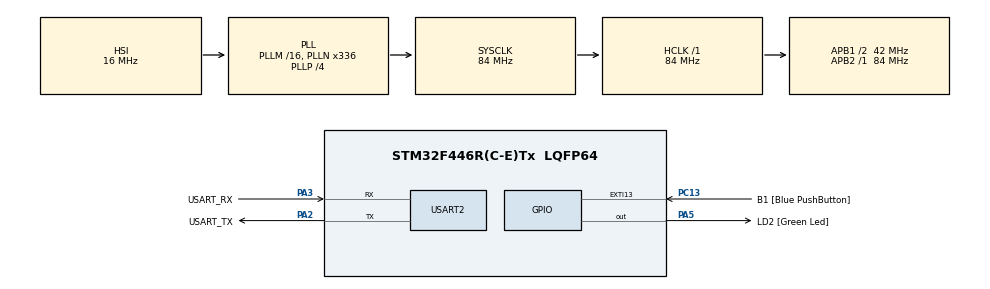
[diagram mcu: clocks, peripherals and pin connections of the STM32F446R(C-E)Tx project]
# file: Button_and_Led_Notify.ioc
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Mcu.Family=STM32F4
Mcu.Name=STM32F446R(C-E)Tx
Mcu.Package=LQFP64
NVIC.PriorityGroup=NVIC_PRIORITYGROUP_4
NVIC.TIM6_DAC_IRQn=true\:0\:0\:false\:false\:true\:false\:true
NVIC.TimeBase=TIM6_DAC_IRQn
NVIC.TimeBaseIP=TIM6
PA13.GPIO_Label=TMS
PA13.Mode=Serial_Wire
PA13.Signal=SYS_JTMS-SWDIO
PA14.GPIO_Label=TCK
PA14.Mode=Serial_Wire
PA14.Signal=SYS_JTCK-SWCLK
PA2.GPIO_Label=USART_TX
PA2.Mode=Asynchronous
PA2.Signal=USART2_TX
PA3.GPIO_Label=USART_RX
PA3.Mode=Asynchronous
PA3.Signal=USART2_RX
PA5.GPIO_Label=LD2 [Green Led]
PA5.Signal=GPIO_Output
PB3.GPIO_Label=SWO
PB3.Signal=SYS_JTDO-SWO
PC13.GPIO_Label=B1 [Blue PushButton]
PC13.GPIO_ModeDefaultEXTI=GPIO_MODE_IT_FALLING
PC13.Signal=GPXTI13
ProjectManager.HeapSize=0x200
ProjectManager.StackSize=0x400
ProjectManager.TargetToolchain=STM32CubeIDE
RCC.48MHZClocksFreq_Value=84000000
RCC.AHBFreq_Value=84000000
RCC.APB1CLKDivider=RCC_HCLK_DIV2
RCC.APB1Freq_Value=42000000
RCC.APB1TimFreq_Value=84000000
RCC.APB2Freq_Value=84000000
RCC.APB2TimFreq_Value=84000000
RCC.CortexFreq_Value=84000000
RCC.FLatency-AdvancedSettings=FLASH_LATENCY_2
RCC.HCLKFreq_Value=84000000
RCC.HSE_VALUE=8000000
RCC.HSI_VALUE=16000000
RCC.PLLN=336
RCC.PLLP=RCC_PLLP_DIV4
RCC.SYSCLKFreq_VALUE=84000000
RCC.SYSCLKSource=RCC_SYSCLKSOURCE_PLLCLK
RCC.USBFreq_Value=168000000
RCC.VCOOutputFreq_Value=336000000
USART2.VirtualMode=VM_ASYNC
VP_SYS_VS_tim6.Mode=TIM6
board=NUCLEO-F446RE

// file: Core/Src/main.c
/* Create two task and poll for button press in one task and toggle led in another task.
   But LED task should not run unneccessarily, it should only run when button is pressed.
   So, button task will keep on running max time.
   And also make one more task which will number of times button is pressed.
*/

/* USER CODE BEGIN Header */
/**
  ******************************************************************************
  * @file           : main.c
  * @brief          : Main program body
  ******************************************************************************
  * @attention
  *
  * <h2><center>&copy; Copyright (c) 2021 STMicroelectronics.
  * All rights reserved.</center></h2>
  *
  * This software component is licensed by ST under BSD 3-Clause license,
  * the "License"; You may not use this file except in compliance with the
  * License. You may obtain a copy of the License at:
  *                        opensource.org/licenses/BSD-3-Clause
  *
  ******************************************************************************
  */
/* USER CODE END Header */
#include "main.h"

/* USER CODE BEGIN Includes */

#include "stdint.h"

#include "FreeRTOS.h"
#include "task.h"

/* USER CODE END Includes */

UART_HandleTypeDef huart2;

/* USER CODE BEGIN PV */

//static uint8_t button_pressed;
TaskHandle_t task1_handler_address;
TaskHandle_t task2_handler_address;
TaskHandle_t task3_handler_address;

/* USER CODE END PV */

void SystemClock_Config(void);
static void MX_GPIO_Init(void);
static void MX_USART2_UART_Init(void);
/* USER CODE BEGIN PFP */
static void button_task_handler(void *);
static void led_task_handler(void *);
static void print_task_handler(void *);
static void rtos_delay(uint32_t ms_delay);
/* USER CODE END PFP */

int main(void)
{
  /* USER CODE BEGIN 1 */

  BaseType_t ret;

  /* USER CODE END 1 */

  /* MCU Configuration--------------------------------------------------------*/

  /* Reset of all peripherals, Initializes the Flash interface and the Systick. */
  HAL_Init();

  /* Configure the system clock */
  SystemClock_Config();

  /* Initialize all configured peripherals */
  MX_GPIO_Init();
  MX_USART2_UART_Init();

  /* USER CODE BEGIN 2 */

  ret = xTaskCreate(button_task_handler, "BUTTON TASK", 500, "BUTTON TASK running\n\n", 2, &task1_handler_address);
  configASSERT(ret == pdPASS);

  ret = xTaskCreate(led_task_handler, "LED TASK", 500, "LED TASK running\n\n", 2, &task2_handler_address);
  configASSERT(ret == pdPASS);

  ret = xTaskCreate(print_task_handler, "PRINT TASK", 500, "PRINT TASK running\n\n", 2, &task3_handler_address);
  configASSERT(ret == pdPASS);

  //Start the Schedular
  vTaskStartScheduler();

  //Note: Control never comes out of this function ie Schedular untill unless schedular launch is failed

  /* USER CODE END 2 */

  /* Infinite loop */
  while (1)
  {

  }
}

void SystemClock_Config(void)
{
  RCC_OscInitTypeDef RCC_OscInitStruct = {0};
  RCC_ClkInitTypeDef RCC_ClkInitStruct = {0};

  /** Configure the main internal regulator output voltage
  */
  __HAL_RCC_PWR_CLK_ENABLE();
  __HAL_PWR_VOLTAGESCALING_CONFIG(PWR_REGULATOR_VOLTAGE_SCALE3);
  /** Initializes the RCC Oscillators according to the specified parameters
  * in the RCC_OscInitTypeDef structure.
  */
  RCC_OscInitStruct.OscillatorType = RCC_OSCILLATORTYPE_HSI;
  RCC_OscInitStruct.HSIState = RCC_HSI_ON;
  RCC_OscInitStruct.HSICalibrationValue = RCC_HSICALIBRATION_DEFAULT;
  RCC_OscInitStruct.PLL.PLLState = RCC_PLL_ON;
  RCC_OscInitStruct.PLL.PLLSource = RCC_PLLSOURCE_HSI;
  RCC_OscInitStruct.PLL.PLLM = 16;
  RCC_OscInitStruct.PLL.PLLN = 336;
  RCC_OscInitStruct.PLL.PLLP = RCC_PLLP_DIV4;
  RCC_OscInitStruct.PLL.PLLQ = 2;
  RCC_OscInitStruct.PLL.PLLR = 2;
  if (HAL_RCC_OscConfig(&RCC_OscInitStruct) != HAL_OK)
  {
    Error_Handler();
  }
  /** Initializes the CPU, AHB and APB buses clocks
  */
  RCC_ClkInitStruct.ClockType = RCC_CLOCKTYPE_HCLK|RCC_CLOCKTYPE_SYSCLK
                              |RCC_CLOCKTYPE_PCLK1|RCC_CLOCKTYPE_PCLK2;
  RCC_ClkInitStruct.SYSCLKSource = RCC_SYSCLKSOURCE_PLLCLK;
  RCC_ClkInitStruct.AHBCLKDivider = RCC_SYSCLK_DIV1;
  RCC_ClkInitStruct.APB1CLKDivider = RCC_HCLK_DIV2;
  RCC_ClkInitStruct.APB2CLKDivider = RCC_HCLK_DIV1;

  if (HAL_RCC_ClockConfig(&RCC_ClkInitStruct, FLASH_LATENCY_2) != HAL_OK)
  {
    Error_Handler();
  }
}

static void MX_USART2_UART_Init(void)
{

  huart2.Instance = USART2;
  huart2.Init.BaudRate = 115200;
  huart2.Init.WordLength = UART_WORDLENGTH_8B;
  huart2.Init.StopBits = UART_STOPBITS_1;
  huart2.Init.Parity = UART_PARITY_NONE;
  huart2.Init.Mode = UART_MODE_TX_RX;
  huart2.Init.HwFlowCtl = UART_HWCONTROL_NONE;
  huart2.Init.OverSampling = UART_OVERSAMPLING_16;
  if (HAL_UART_Init(&huart2) != HAL_OK)
  {
    Error_Handler();
  }

}

static void MX_GPIO_Init(void)
{
  GPIO_InitTypeDef GPIO_InitStruct = {0};

  /* GPIO Ports Clock Enable */
  __HAL_RCC_GPIOC_CLK_ENABLE();
  __HAL_RCC_GPIOA_CLK_ENABLE();
  __HAL_RCC_GPIOB_CLK_ENABLE();

  /*Configure GPIO pin Output Level */
  HAL_GPIO_WritePin(LD2_GPIO_Port, LD2_Pin, GPIO_PIN_RESET);

  /*Configure GPIO pin : B1_Pin */
  GPIO_InitStruct.Pin = B1_Pin;
  GPIO_InitStruct.Mode = GPIO_MODE_IT_FALLING;
  GPIO_InitStruct.Pull = GPIO_NOPULL;
  HAL_GPIO_Init(B1_GPIO_Port, &GPIO_InitStruct);

  /*Configure GPIO pin : LD2_Pin */
  GPIO_InitStruct.Pin = LD2_Pin;
  GPIO_InitStruct.Mode = GPIO_MODE_OUTPUT_PP;
  GPIO_InitStruct.Pull = GPIO_NOPULL;
  GPIO_InitStruct.Speed = GPIO_SPEED_FREQ_LOW;
  HAL_GPIO_Init(LD2_GPIO_Port, &GPIO_InitStruct);

}

/* USER CODE BEGIN 4 */

static void button_task_handler(void * parameter)
{

    while(1)
    {
      taskENTER_CRITICAL();
      printf("%s\n", parameter);
      taskEXIT_CRITICAL();

      //BY DEFAULT BUTTON PIN IS CONNECTED TO HIGH
      if (!HAL_GPIO_ReadPin(B1_GPIO_Port, B1_Pin))
      {
          //BUTTON PRESSED

          //DELAY TO AVOID BUTTON DEBOUNCING, THEREFORE AVOIDING MULTIPLE NOTIFICATIONS
          rtos_delay(100);

          //NOTIFY LED TASK TO TOGGLE LED
          xTaskNotify(task2_handler_address, 0x0, eNoAction);

          //NOTIFY PRINT TASK TO PRINT NUMBER OF TIMES BUTTON PRESSED
          xTaskNotify(task3_handler_address, 0x0, eIncrement);
      }
      HAL_Delay(2000);
    }
}

static void led_task_handler(void * parameter)
{
    while(1)
    {

      taskENTER_CRITICAL();
      printf("%s\n", parameter);
      taskEXIT_CRITICAL();

      //wait untill notification event is not received from button task
      if (xTaskNotifyWait( 0, 0, NULL, portMAX_DELAY ) == pdTRUE)
      {
          //NOTIFICATION IS RECEIVED
          taskENTER_CRITICAL();
          printf("Notication received\n");
          taskEXIT_CRITICAL();

          HAL_GPIO_TogglePin(LD2_GPIO_Port, LD2_Pin);
      }
      HAL_Delay(2000);
    }
}

static void print_task_handler(void * parameter)
{
  while(1)
  {
      uint32_t current_notif_value = 0;

      taskENTER_CRITICAL();
      printf("%s\n", parameter);
      taskEXIT_CRITICAL();

      //BY DEFAULT VALUE OF NOTIF COUNT IS 0, THEREFORE CURRENT_NOTIF_VALUE WILL GIVE NUMBER OF BUTTON PRESS
      if(xTaskNotifyWait(0, 0, &current_notif_value, portMAX_DELAY ) == pdTRUE)
      {
        taskENTER_CRITICAL();
        printf("Button press count: %d\n", current_notif_value);
        taskEXIT_CRITICAL();
      }
      HAL_Delay(2000);
  }
}

void USART_Send(uint8_t * data, uint8_t size)
{
    HAL_UART_AbortTransmit(&huart2);
    if(HAL_UART_Transmit(&huart2, data, size, 100))
    {
      Error_Handler();
    }
}

static void rtos_delay(uint32_t ms_delay)
{
  uint32_t current_tick_count = xTaskGetTickCount();
  uint32_t tick_count_after_delay = current_tick_count + (ms_delay * configTICK_RATE_HZ)/1000;

  while(xTaskGetTickCount() != tick_count_after_delay);

}

/* USER CODE END 4 */

 /**
  * @brief  Period elapsed callback in non blocking mode
  * @note   This function is called  when TIM6 interrupt took place, inside
  * HAL_TIM_IRQHandler(). It makes a direct call to HAL_IncTick() to increment
  * a global variable "uwTick" used as application time base.
  * @param  htim : TIM handle
  * @retval None
  */
void HAL_TIM_PeriodElapsedCallback(TIM_HandleTypeDef *htim)
{
  if (htim->Instance == TIM6) {
    HAL_IncTick();
  }
}

void Error_Handler(void)
{
  __disable_irq();
  while (1)
  {
  }
}

/************************ (C) COPYRIGHT STMicroelectronics *****END OF FILE****/
